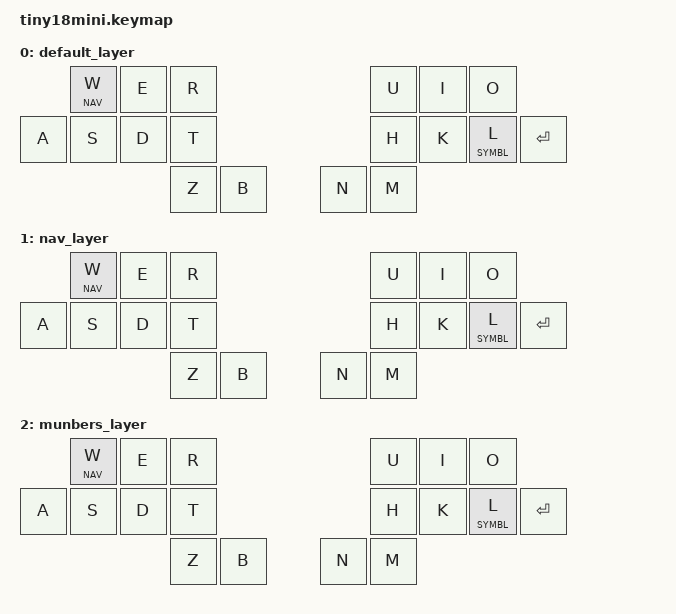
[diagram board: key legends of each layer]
#include <input/processors.dtsi>
#include <dt-bindings/zmk/input_transform.h>
#include <zephyr/dt-bindings/input/input-event-codes.h>
#include <behaviors.dtsi>
#include <dt-bindings/zmk/bt.h>
#include <dt-bindings/zmk/keys.h>
#include <dt-bindings/zmk/pointing.h>

#define DEFAULT 0
#define SYMBL 1
#define NAV 2
#define NUMBERS 3
#define MOUSE 4

/ {

    combos {
        compatible = "zmk,combos";
        combo_q {
            timeout-ms = <50>;
            key-positions = <11 12>;
			layers = <0>;
            bindings = <&kp Q>;
        };

        combo_f {
            timeout-ms = <50>;
            key-positions = <10 11>;
			layers = <0>;
            bindings = <&kp F>;
        };

        combo_g {
            timeout-ms = <50>;
            key-positions = <13 14>;
			layers = <0>;
            bindings = <&kp G>;
        };

        combo_y {
            timeout-ms = <50>;
            key-positions = <0 1>;
			layers = <0>;
            bindings = <&kp Y>;
        };

        combo_p {
            timeout-ms = <50>;
            key-positions = <1 2>;
			layers = <0>;
            bindings = <&kp P>;
        };

        combo_J {
            timeout-ms = <50>;
            key-positions = <3 4>;
			layers = <0>;
            bindings = <&kp J>;
        };

};


	keymap {
		compatible = "zmk,keymap";


		default_layer {
			bindings = <
				&lt NAV W  &kp E     &kp R                                     &kp U     &kp I        &kp O
				&kp A      &kp S     &kp D     &kp T                 &kp H     &kp K     &lt SYMBL L  &kp ENTER
				                     &kp Z     &kp B                 &kp N     &kp M
			>;
		};

		symbl_layer {
				&lt NAV W  &kp E     &kp R                                     &kp U     &kp I        &kp O
				&kp A      &kp S     &kp D     &kp T                 &kp H     &kp K     &lt SYMBL L  &kp ENTER
				                     &kp Z     &kp B                 &kp N     &kp M
			>;
		};

		nav_layer {
			bindings = <
				&lt NAV W  &kp E     &kp R                                     &kp U     &kp I        &kp O
				&kp A      &kp S     &kp D     &kp T                 &kp H     &kp K     &lt SYMBL L  &kp ENTER
				                     &kp Z     &kp B                 &kp N     &kp M
			>;
		};

		munbers_layer {
			bindings = <
				&lt NAV W  &kp E     &kp R                                     &kp U     &kp I        &kp O
				&kp A      &kp S     &kp D     &kp T                 &kp H     &kp K     &lt SYMBL L  &kp ENTER
				                     &kp Z     &kp B                 &kp N     &kp M
			>;
		};

		mouse_layer {
				&lt NAV W  &kp E     &kp R                                     &kp U     &kp I        &kp O
				&kp A      &kp S     &kp D     &kp T                 &kp H     &kp K     &lt SYMBL L  &kp ENTER
				                     &kp Z     &kp B                 &kp N     &kp M
			>;
		};

	};
};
